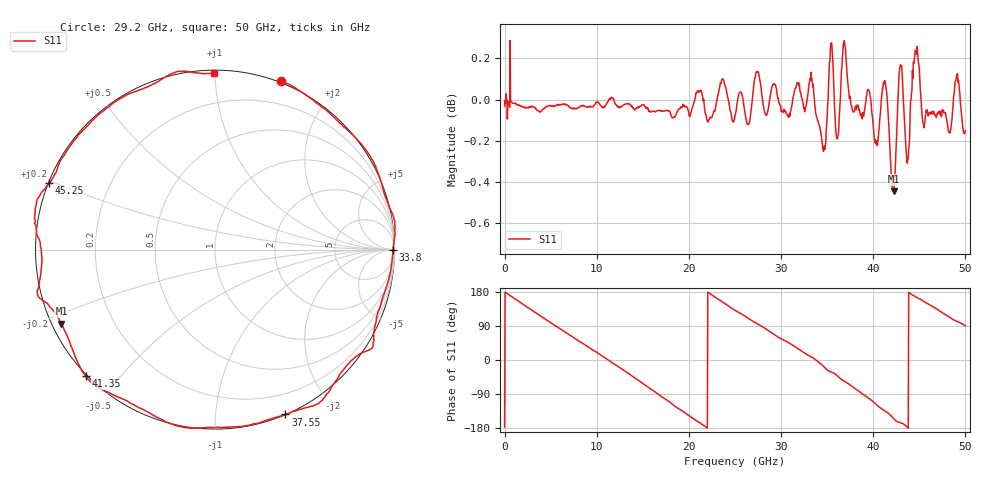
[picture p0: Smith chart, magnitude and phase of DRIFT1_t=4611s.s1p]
!Created with skrf (http://scikit-rf.org).
# Hz S RI R 50.0
!freq ReS11 ImS11
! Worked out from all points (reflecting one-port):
!   1001 points, 300 kHz to 50 GHz, reference 50 ohm
!   lowest |S11| = -0.4 dB at 42.2 GHz (marker M1), VSWR 39.03, Z = 1.35 - j11.4 ohm
!   phase of S11 starts at -177 deg and turns -813 deg over the sweep
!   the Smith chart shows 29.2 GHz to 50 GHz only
!   S11 on the Smith chart (normalised r, x): 29.2 GHz: -0.01, +1.47; 33.8 GHz: open; 37.55 GHz: 0.00, -1.51; 41.35 GHz: -0.00, -0.41; 45.25 GHz: 0.00, +0.19; 50 GHz: 0.02, +0.99
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300000  -0.9949 -0.0512
1.60029e9  -0.8929 0.4432
3.35028e9  -0.571 0.815
6.250262e9  0.1979 0.9774
9.500243e9  0.8867 0.4538
1.115023e10  0.9982 0.0249
1.250022e10  0.9346 -0.3426
1.420021e10  0.6633 -0.7414
1.580021e10  0.2501 -0.9612
1.73502e10  -0.2023 -0.9728
1.875019e10  -0.5884 -0.8004
2.160017e10  -0.9925 -0.1252
2.345016e10  -0.9258 0.4014
2.500015e10  -0.6491 0.7488
2.730014e10  -0.1295 1.007
2.920012e10  0.3701 0.9385
3.125011e10  0.7746 0.6321
3.38001e10  0.9914 -0.00423
3.560009e10  0.8566 -0.5599
3.750008e10  0.4056 -0.9162
3.755007e10  0.392 -0.9183
3.950006e10  -0.1839 -0.9883
4.135005e10  -0.7192 -0.7063
4.220005e10  -0.8558 -0.4126
4.375004e10  -0.9665 -0.0243
4.525003e10  -0.9235 0.3702
4.770001e10  -0.5226 0.8437
5e10  -0.00594 0.9827
